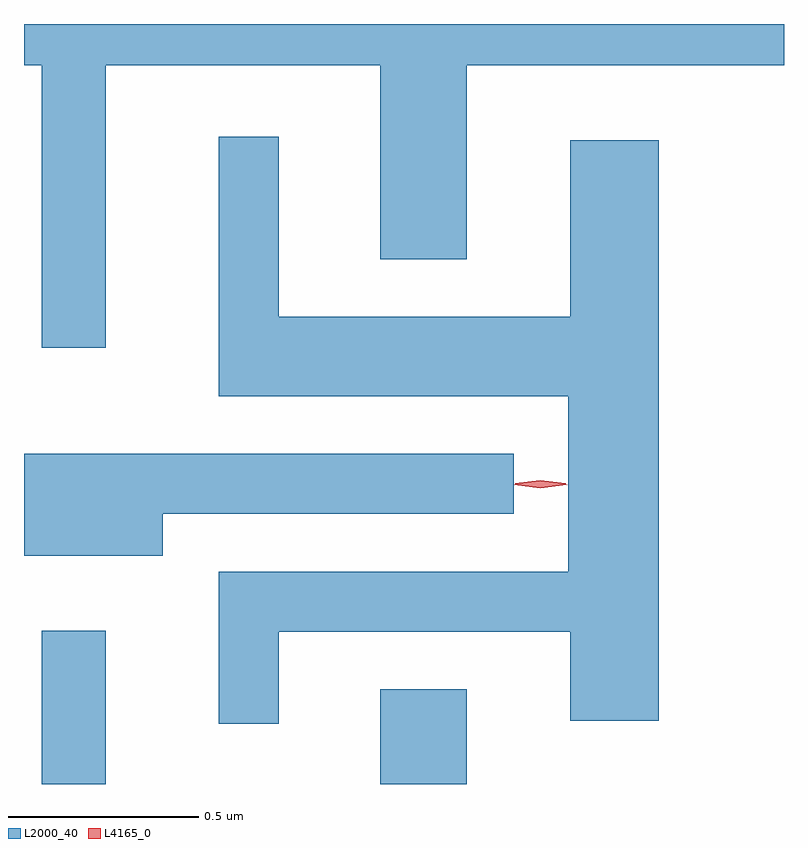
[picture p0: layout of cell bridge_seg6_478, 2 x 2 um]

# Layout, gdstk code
import gdstk
lib = gdstk.Library(unit=1e-6, precision=1e-09)
def R(c, l, rs):  # rectangles x0, y0, x1, y1
    for r in rs: c.add(gdstk.rectangle(r[:2], r[2:], *l))
def P(c, l, *ps):  # polygons
    for p in ps: c.add(gdstk.Polygon(p, *l))
L2000_40 = (2000, 40)
L4165_0 = (4165, 0)

bridge_seg6_478 = lib.new_cell('bridge_seg6_478')
R(bridge_seg6_478, L2000_40, [(661.571,1605.865,661.739,1606.268), (662.461,1605.865,662.689,1606.114)])
P(bridge_seg6_478, L2000_40, [(661.739,1607.756),(662.461,1607.756),(662.461,1607.246),(662.689,1607.246),(662.689,1607.756),(663.524,1607.756),(663.524,1607.865),(661.524,1607.865),(661.524,1607.756),(661.571,1607.756),(661.571,1607.013),(661.739,1607.013)],
  [(662.194,1606.266),(662.961,1606.266),(662.961,1606.031),(663.194,1606.031),(663.194,1607.559),(662.961,1607.559),(662.961,1607.094),(662.194,1607.094),(662.194,1607.568),(662.036,1607.568),(662.036,1606.886),(662.956,1606.886),(662.956,1606.424),(662.036,1606.424),(662.036,1606.023),(662.194,1606.023)],
  [(661.889,1606.576),(662.813,1606.576),(662.813,1606.734),(661.524,1606.734),(661.524,1606.466),(661.889,1606.466)])
P(bridge_seg6_478, L4165_0, [(662.883,1606.643),(662.814,1606.652),(662.813,1606.653),(662.814,1606.653),(662.883,1606.663),(662.952,1606.653),(662.953,1606.653),(662.952,1606.652)],
  [(662.883,1606.645),(662.817,1606.654),(662.817,1606.655),(662.817,1606.656),(662.883,1606.665),(662.949,1606.656),(662.95,1606.655),(662.949,1606.654)])

lib.write_gds('bridge_seg6_478.gds')
